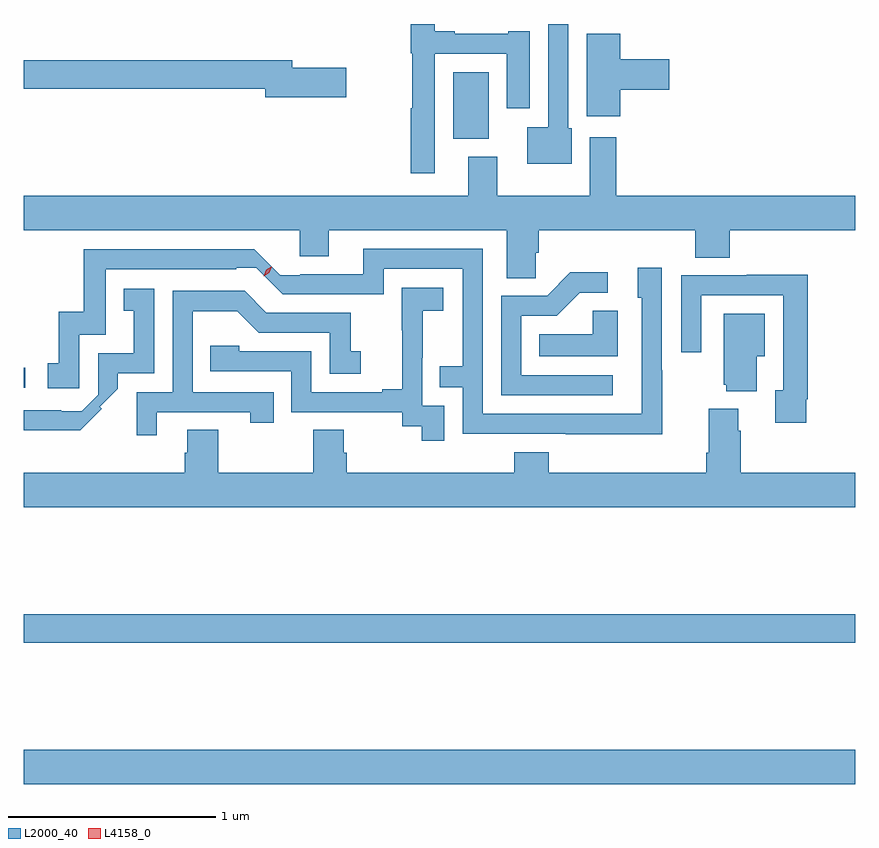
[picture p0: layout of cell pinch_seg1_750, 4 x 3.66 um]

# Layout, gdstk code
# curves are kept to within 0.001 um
import gdstk
lib = gdstk.Library(unit=1e-6, precision=1e-09)
def R(c, l, rs):  # rectangles x0, y0, x1, y1
    for r in rs: c.add(gdstk.rectangle(r[:2], r[2:], *l))
def P(c, l, *ps):  # polygons
    for p in ps: c.add(gdstk.Polygon(p, *l))
L2000_40 = (2000, 40)
L4158_0 = (4158, 0)

pinch_seg1_750 = lib.new_cell('pinch_seg1_750')
R(pinch_seg1_750, L2000_40, [(842.835,513.104,846.835,513.268), (842.835,513.784,846.835,513.92), (842.835,515.01,842.842,515.106), (844.901,516.206,845.071,516.526)])
P(pinch_seg1_750, L2000_40, [(844.812,516.615),(845.159,516.615),(845.159,516.354),(845.269,516.354),(845.269,516.724),(845.165,516.724),(845.165,516.711),(844.909,516.711),(844.909,516.724),(844.813,516.724),(844.813,516.759),(844.696,516.759),(844.696,516.618),(844.704,516.618),(844.704,516.354),(844.696,516.354),(844.696,516.042),(844.812,516.042)],
  [(845.47,516.258),(845.454,516.258),(845.454,516.759),(845.358,516.759),(845.358,516.262),(845.258,516.262),(845.258,516.086),(845.47,516.086)],
  [(845.705,516.443),(845.941,516.443),(845.941,516.59),(845.705,516.59),(845.705,516.713),(845.543,516.713),(845.543,516.315),(845.705,516.315)],
  [(844.387,516.548),(844.126,516.548),(844.126,516.584),(842.835,516.584),(842.835,516.448),(843.998,516.448),(843.998,516.406),(844.387,516.406)],
  [(845.298,515.659),(845.312,515.659),(845.312,515.768),(846.065,515.768),(846.065,515.635),(846.23,515.635),(846.23,515.768),(846.835,515.768),(846.835,515.932),(845.684,515.932),(845.684,516.214),(845.558,516.214),(845.558,515.932),(845.113,515.932),(845.113,516.121),(844.973,516.121),(844.973,515.932),(842.835,515.932),(842.835,515.768),(844.163,515.768),(844.163,515.641),(844.303,515.641),(844.303,515.768),(845.159,515.768),(845.159,515.536),(845.298,515.536)],
  [(845.907,515.093),(845.904,515.093),(845.904,515.587),(845.789,515.587),(845.789,515.442),(845.808,515.442),(845.808,514.884),(845.043,514.884),(845.043,515.679),(844.469,515.679),(844.469,515.556),(844.166,515.556),(844.166,515.55),(844.069,515.55),(843.943,515.676),(843.123,515.676),(843.123,515.374),(843.005,515.374),(843.005,515.127),(842.952,515.127),(842.952,515.007),(843.102,515.007),(843.102,515.265),(843.231,515.265),(843.231,515.58),(843.857,515.58),(843.857,515.586),(843.954,515.586),(844.08,515.46),(844.566,515.46),(844.566,515.583),(844.947,515.583),(844.947,515.114),(844.837,515.114),(844.837,515.013),(844.947,515.013),(844.947,514.788),(845.907,514.787)],
  [(845.668,515.07),(845.229,515.07),(845.229,515.355),(845.398,515.355),(845.509,515.466),(845.644,515.466),(845.644,515.564),(845.465,515.564),(845.352,515.451),(845.133,515.451),(845.133,514.974),(845.668,514.974)],
  [(846.598,514.954),(846.605,514.954),(846.605,515.552),(846.313,515.552),(846.313,515.55),(845.997,515.55),(845.997,515.181),(846.093,515.181),(846.093,515.454),(846.489,515.454),(846.489,514.998),(846.449,514.998),(846.449,514.842),(846.598,514.842)],
  [(844.857,514.923),(844.752,514.923),(844.752,515.153),(844.754,515.153),(844.754,515.381),(844.852,515.381),(844.852,515.491),(844.654,515.491),(844.654,515.285),(844.655,515.285),(844.655,515.002),(844.559,515.002),(844.559,514.989),(844.218,514.989),(844.218,515.184),(843.873,515.184),(843.873,515.211),(843.733,515.211),(843.733,515.088),(844.122,515.088),(844.122,514.893),(844.656,514.893),(844.656,514.825),(844.749,514.825),(844.749,514.755),(844.857,514.755)],
  [(843.21,514.908),(843.2,514.918),(843.288,515.006),(843.288,515.079),(843.462,515.079),(843.462,515.485),(843.316,515.485),(843.316,515.379),(843.365,515.379),(843.365,515.175),(843.195,515.175),(843.195,514.977),(843.114,514.896),(843.017,514.896),(843.017,514.902),(842.835,514.902),(842.835,514.805),(843.107,514.805)],
  [(843.475,514.893),(843.926,514.893),(843.926,514.842),(844.037,514.842),(844.037,514.989),(843.648,514.989),(843.648,515.378),(843.862,515.378),(843.966,515.274),(844.308,515.274),(844.308,515.076),(844.456,515.076),(844.456,515.185),(844.407,515.185),(844.407,515.37),(844.003,515.37),(843.898,515.475),(843.552,515.475),(843.552,514.989),(843.378,514.989),(843.378,514.782),(843.475,514.782)],
  [(845.692,515.381),(845.571,515.381),(845.571,515.266),(845.314,515.266),(845.314,515.162),(845.692,515.162)],
  [(846.361,515.162),(846.4,515.162),(846.4,515.365),(846.203,515.365),(846.203,515.025),(846.215,515.025),(846.215,514.994),(846.361,514.994)],
  [(846.835,514.6),(846.284,514.6),(846.284,514.802),(846.271,514.802),(846.271,514.909),(846.131,514.909),(846.131,514.696),(846.119,514.696),(846.119,514.6),(845.36,514.6),(845.36,514.699),(845.195,514.699),(845.195,514.6),(844.388,514.6),(844.388,514.698),(844.375,514.698),(844.375,514.808),(844.228,514.808),(844.228,514.6),(843.771,514.6),(843.771,514.808),(843.623,514.808),(843.623,514.698),(843.611,514.698),(843.611,514.6),(842.835,514.6),(842.835,514.436),(846.835,514.436)])
P(pinch_seg1_750, L4158_0, [(843.99,515.547),(843.99,515.547),(844.001,515.576),(844.027,515.592),(844.028,515.592),(844.028,515.592),(844.016,515.563),(843.99,515.547)])

lib.write_gds('pinch_seg1_750.gds')
